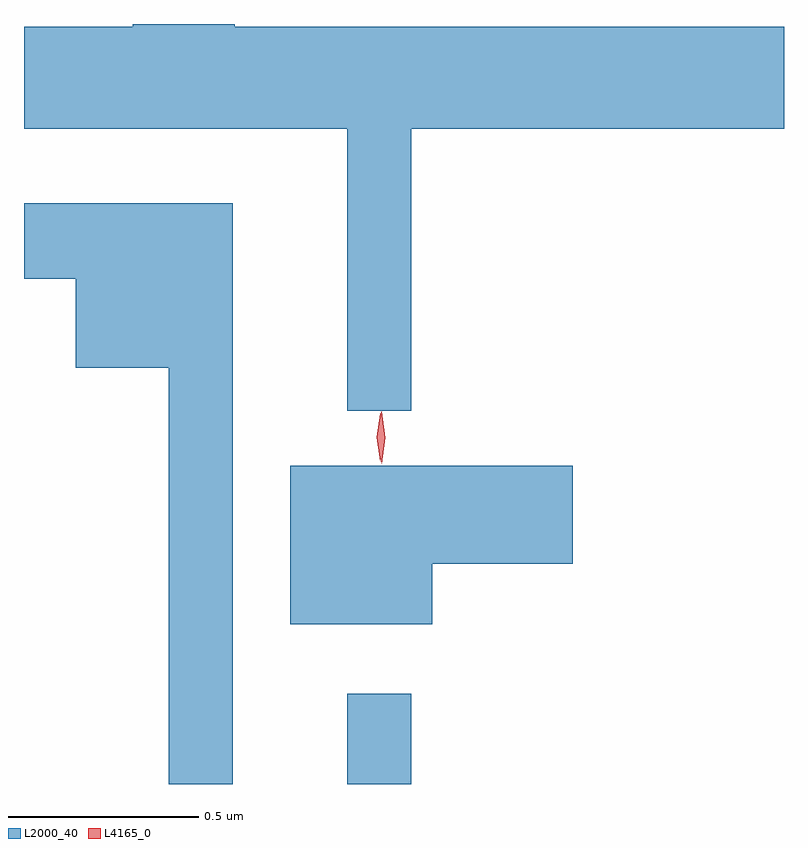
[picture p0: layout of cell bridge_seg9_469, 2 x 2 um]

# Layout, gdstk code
import gdstk
lib = gdstk.Library(unit=1e-6, precision=1e-09)
def R(c, l, rs):  # rectangles x0, y0, x1, y1
    for r in rs: c.add(gdstk.rectangle(r[:2], r[2:], *l))
def P(c, l, *ps):  # polygons
    for p in ps: c.add(gdstk.Polygon(p, *l))
L2000_40 = (2000, 40)
L4165_0 = (4165, 0)

bridge_seg9_469 = lib.new_cell('bridge_seg9_469')
R(bridge_seg9_469, L2000_40, [(395.461,2058.911,395.629,2059.148)])
P(bridge_seg9_469, L2000_40, [(395.629,2060.636),(396.61,2060.636),(396.61,2060.904),(395.164,2060.904),(395.164,2060.911),(394.896,2060.911),(394.896,2060.904),(394.61,2060.904),(394.61,2060.636),(395.461,2060.636),(395.461,2059.893),(395.629,2059.893)],
  [(395.159,2060.439),(394.61,2060.439),(394.61,2060.241),(394.746,2060.241),(394.746,2060.006),(394.991,2060.006),(394.991,2058.911),(395.159,2058.911)],
  [(395.684,2059.491),(396.054,2059.491),(396.054,2059.749),(395.311,2059.749),(395.311,2059.331),(395.684,2059.331)])
P(bridge_seg9_469, L4165_0, [(395.551,2059.754),(395.551,2059.754),(395.541,2059.822),(395.55,2059.89),(395.55,2059.89),(395.551,2059.89),(395.561,2059.822),(395.552,2059.754)],
  [(395.547,2059.76),(395.538,2059.823),(395.547,2059.886),(395.548,2059.887),(395.548,2059.886),(395.558,2059.823),(395.548,2059.76),(395.548,2059.76)])

lib.write_gds('bridge_seg9_469.gds')
